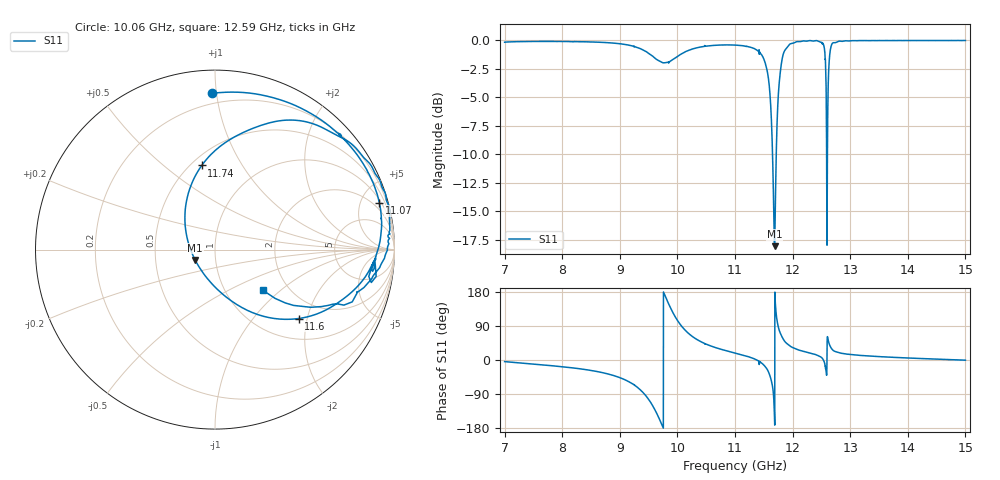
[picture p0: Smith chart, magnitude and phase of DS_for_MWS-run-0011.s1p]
! TOUCHSTONE file generated by CST DESIGN STUDIO
! Date and time: Mon Feb 10 16:57:21 2025
! Project name: C:\Work\MatlabApps\UnitCellType2OptimizationMatlab\CST\unitcell.cst
! Tree item: Tasks\Sweep1\SPara1\S-Parameters
! Header version: 2024
! Port assignment regex: !\s*Touchstone port\s*([0-9]+)\s*=\s*(CST MWS port|CST DES external port|CST DES block port)\s*(.+)\s* \(\"(.*)\"\)(\s*mode\s*([0-9]+))?.*
! Touchstone port assignment:
! Touchstone port 1 = CST DES external port 1 ("")
# GHz S MA R 50
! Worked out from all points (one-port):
!   4001 points, 7 GHz to 15 GHz, reference 50 ohm
!   lowest |S11| = -18.1 dB at 11.69 GHz (marker M1), VSWR 1.29, Z = 39.8 - j4.69 ohm
!   |S11| at or under -10 dB: 11.65 GHz to 11.72 GHz (64.38 MHz wide, 0.551 % of centre); 12.59059 GHz to 12.60444 GHz (13.85 MHz wide, 0.11 % of centre)
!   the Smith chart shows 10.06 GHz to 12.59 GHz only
!   S11 on the Smith chart (normalised r, x): 10.06 GHz: 0.13, +0.97; 11.07 GHz: 1.24, +6.94; 11.6 GHz: 1.47, -1.77; 11.74 GHz: 0.56, +0.68; 12.59 GHz: 1.49, -0.77
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7  0.9823 -4.2
8  0.9897 -17.8
9  0.9678 -46.5
9.282  0.935 -69.4
9.526  0.8684 -109.6
9.636  0.8263 -139.3
9.76  0.7976 178.8
9.888  0.8144 135.2
10  0.8507 104.6
10.064  0.8712 90.9
10.438  0.9393 46.0
11  0.9547 18.5
11.066  0.952 15.9
11.448  0.8747 -6.4
11.602  0.6036 -39.5
11.686  0.1248 -152.3
11.736  0.4748 98.9
11.816  0.8228 61.2
12  0.9713 32.9
12.506  0.9767 6.0
12.556  0.8981 -8.8
12.59  0.351 -40.3
12.622  0.6887 49.9
12.65  0.8891 37.0
12.724  0.9776 23.4
13  0.9959 14.6
14  0.9989 5.3
15  0.9995 -0.5
